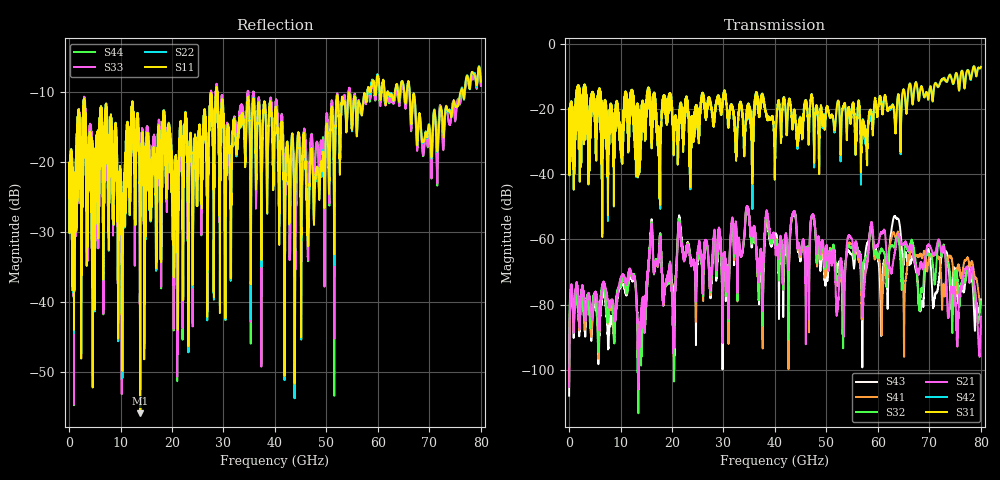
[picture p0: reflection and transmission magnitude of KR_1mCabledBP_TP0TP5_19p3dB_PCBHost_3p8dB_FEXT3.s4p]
!! Reference: shanbhag_3dj_02_2305.pdf
!! CHANNEL DESCRIPTION: TP0_TP5 KR Channel using 1meter Cabled BP, PCB Host
!! CABLE DESCRIPTION: 1meter 26AWG Cable
!! MODEL STATUS: Developmental
!! PORT DEFINITIONS:
!! Port  1  ----->  Side A  Side B  <-----  Port  2
!! Port  3  ----->  Side A  Side B  <-----  Port  4
# HZ S MA R 50.000000
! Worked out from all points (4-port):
!   8000 points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, 10 MHz to 80 GHz, reference 50 ohm
!   strongest paths, dB at 10 MHz, 20.01 GHz, 40.01 GHz, 60.01 GHz, 80 GHz:
!     S31: -28.3, -20.4, -34.7, -20.8, -7.1
!     S42: -28.3, -20.4, -34.9, -19.2, -7.1
!     S21: -105.2, -80.4, -62.0, -61.6, -83.7
!     S32: -98.9, -77.8, -60.9, -65.1, -79.1
!     S41: -103.5, -77.2, -60.1, -65.1, -79.6
!     S43: -107.9, -74.7, -59.4, -65.7, -78.4
!   lowest |S11| = -55.8 dB at 13.84 GHz (marker M1), VSWR 1.00, Z = 50.1 - j0.147 ohm
!   |S11| at or under -10 dB: start of sweep to 28.55 GHz; 28.84 GHz to 54.37 GHz (25.52 GHz wide, 61.3 % of centre); 66.17 GHz to 76.02 GHz (9.845 GHz wide, 13.8 % of centre) (the widest 3 of 17)
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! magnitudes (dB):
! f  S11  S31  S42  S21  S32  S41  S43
! 10 MHz  -25.0  -28.3  -28.3  -105.2  -98.9  -103.5  -107.9
! 13.84 GHz  -55.8  -31.9  -32.0  -85.3  -91.5  -86.2  -85.6
! 34.63 GHz  -11.5  -20.8  -21.3  -49.8  -50.4  -50.2  -50.5
! 37.3 GHz  -24.4  -17.3  -17.2  -64.8  -65.1  -65.6  -66.5
! 60.63 GHz  -10.7  -18.1  -17.6  -58.0  -63.1  -76.6  -87.0
! 63.45 GHz  -9.4  -27.4  -27.1  -62.2  -60.1  -59.5  -53.2
! 80 GHz  -8.5  -7.1  -7.1  -83.7  -79.1  -79.6  -78.4
